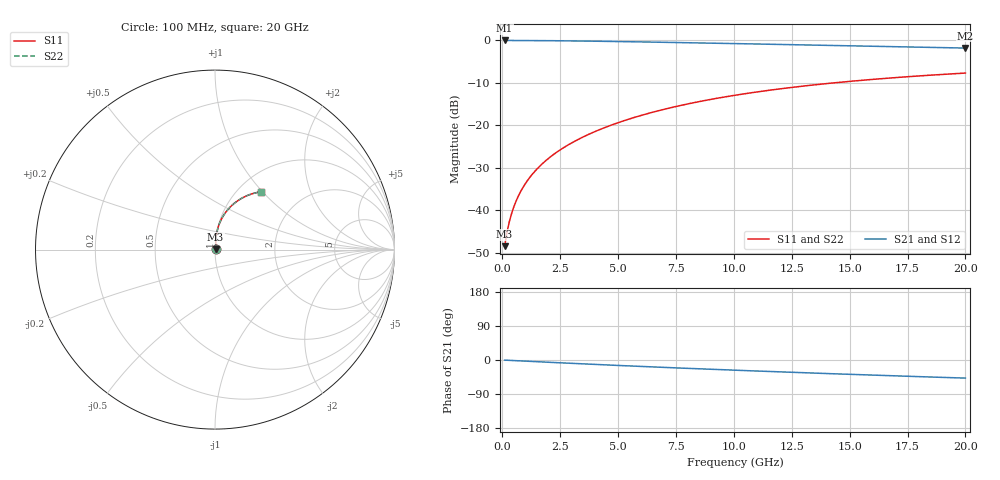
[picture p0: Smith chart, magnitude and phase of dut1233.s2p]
! Touchstone file exported from HFSS 2024.1.0
!  File:  C:/UserFiles/LocalFiles/RDL_TSV_Batchsim/temp_RDL_bottom_1233_1780244652.aedt
!  Generated:  12:26:58 AM Jun  1, 2026
!  Design:  RDL_bottom
!  Project:  temp_RDL_bottom_1233_1780244652
!  Setup:  Setup1
!  Solution:  Sweep
! Variables:
!  dtsv = 10.80580581um
!  hbump = 3um
!  htsv = 58.95um
!  ldown = 679.68um
!  lrdl = 100um
!  p = 40
!  p1 = 56.17um
!  rhole = 1um
!  t = 450um
!  tdown = 3.47um
!  trdl = 3.915915916um
!  wdown = 24.6um
!  wrdl = 20um
# GHz S MA R 50.000000
! Terminal data exported
! Port[1] = RDL1_T1
! Port[2] = RDL1_T2
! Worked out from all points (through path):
!   200 points, 100 MHz to 20 GHz, reference 50 ohm
!   highest |S21| = -0.03 dB at 100 MHz (marker M1); lowest = -1.8 dB at 20 GHz (marker M2)
!   group delay of S21, straight-line fit = 6.57 ps
!   lowest |S11| = -48.5 dB at 100 MHz (marker M3), VSWR 1.01, Z = 50.3 + j0.225 ohm
!   |S11| at or under -10 dB: start of sweep to 14.34 GHz
!   |S22| runs from -48.5 to -7.7 dB; largest |S21 - S12| = 1.8e-14
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0.1  0.003776 36.4  0.9969 -0.3  0.9969 -0.3  0.003776 36.4
! Gamma 0 0 0 0
! Port Impedance 50 0 50 0
0.2  0.005433 53.8  0.9967 -0.6  0.9967 -0.6  0.005433 53.8
0.3  0.007264 62.3  0.9965 -0.9  0.9965 -0.9  0.007264 62.3
0.4  0.009127 67.3  0.9963 -1.2  0.9963 -1.2  0.009127 67.3
0.5  0.011 70.8  0.9961 -1.5  0.9961 -1.5  0.011 70.8
0.6  0.0129 73.3  0.9958 -1.8  0.9958 -1.8  0.0129 73.3
0.8  0.01674 76.9  0.9954 -2.4  0.9954 -2.4  0.01674 76.8
1.1  0.02262 80.0  0.9946 -3.3  0.9946 -3.3  0.02262 80.0
1.3  0.02661 81.3  0.9939 -3.9  0.9939 -3.9  0.02661 81.3
1.6  0.03266 82.6  0.9928 -4.8  0.9928 -4.8  0.03266 82.6
2.1  0.04296 83.9  0.9904 -6.3  0.9904 -6.3  0.04296 83.9
2.7  0.05564 84.6  0.9869 -8.0  0.9869 -8.0  0.05564 84.6
3.5  0.07309 84.6  0.9812 -10.3  0.9812 -10.3  0.07309 84.6
4.2  0.08884 84.2  0.9754 -12.2  0.9754 -12.2  0.08884 84.2
5  0.1073 83.2  0.9682 -14.4  0.9682 -14.4  0.1073 83.2
6.8  0.1498 80.2  0.9504 -19.1  0.9504 -19.1  0.1498 80.2
8.4  0.1877 76.8  0.9336 -23.0  0.9336 -23.0  0.1876 76.8
10.1  0.2269 72.9  0.9154 -27.0  0.9154 -27.0  0.2269 72.9
11.7  0.2623 69.2  0.8981 -30.7  0.8981 -30.7  0.2622 69.2
13.4  0.2977 65.3  0.8798 -34.4  0.8798 -34.4  0.2977 65.3
16.7  0.3595 58.1  0.8448 -41.3  0.8448 -41.3  0.3594 58.1
20  0.4118 51.4  0.811 -47.8  0.811 -47.8  0.4117 51.4
